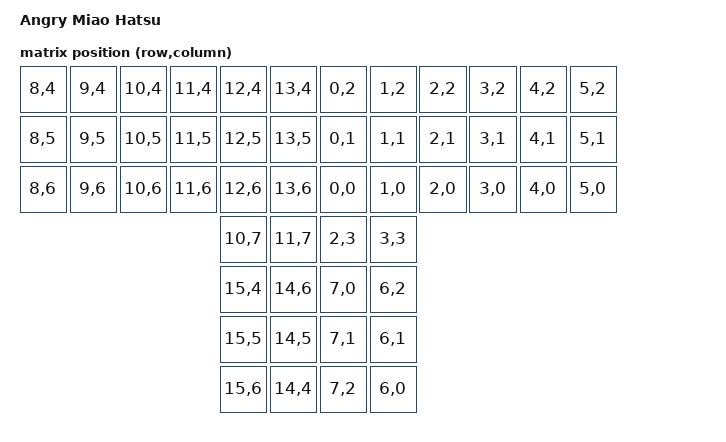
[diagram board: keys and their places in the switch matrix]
/*
 * Copyright (c) 2017 Linaro Limited
 *
 * SPDX-License-Identifier: Apache-2.0
 */

/dts-v1/;
#include <nordic/nrf52840_qiaa.dtsi>
#include <dt-bindings/zmk/matrix_transform.h>
 
 / {
     model = "Angry Miao Hatsu";
     compatible = "angry_miao,hatsu";
 
     chosen {
        zephyr,console = &cdc_acm_uart;
		zephyr,shell-uart = &cdc_acm_uart;
        zephyr,code-partition = &code_partition;
        zephyr,sram = &sram0;
        zephyr,flash = &flash0;
        zmk,kscan = &kscan0;
        zmk,matrix_transform = &layout_grid_transform;
     };


    layout_grid_transform:
        keymap_transform_0 {
            compatible = "zmk,matrix-transform";
            columns = <8>;
            rows = <16>;
            map = <
            RC(8, 4) RC(9, 4) RC(10, 4) RC(11, 4) RC(12, 4) RC(13, 4)    RC(0, 2) RC(1, 2) RC(2, 2) RC(3, 2) RC(4, 2) RC(5, 2)
            RC(8, 5) RC(9, 5) RC(10, 5) RC(11, 5) RC(12, 5) RC(13, 5)    RC(0, 1) RC(1, 1) RC(2, 1) RC(3, 1) RC(4, 1) RC(5, 1)
            RC(8, 6) RC(9, 6) RC(10, 6) RC(11, 6) RC(12, 6) RC(13, 6)    RC(0, 0) RC(1, 0) RC(2, 0) RC(3, 0) RC(4, 0) RC(5, 0)
                                                  RC(10, 7) RC(11, 7)    RC(2, 3) RC(3, 3)
                                                  RC(15, 4) RC(14, 6)    RC(7, 0) RC(6, 2)
                                                  RC(15, 5) RC(14, 5)    RC(7, 1) RC(6, 1)
                                                  RC(15, 6) RC(14, 4)    RC(7, 2) RC(6, 0)
            >;
    };
 };
 
 &adc {
     status = "okay";
 };
 
 &gpiote {
     status = "okay";
 };
 
 &gpio0 {
     status = "okay";
 };
 
 &gpio1 {
     status = "okay";
 };

/* 
 &uart0 {
     compatible = "nordic,nrf-uarte";
     status = "okay";
     current-speed = <115200>;
     //pinctrl-0 = <&uart0_default>;
     //pinctrl-1 = <&uart0_sleep>;
     //pinctrl-names = "default", "sleep";
 };
 */

 &usbd {
    status = "okay";
    cdc_acm_uart: cdc_acm_uart {
        compatible = "zephyr,cdc-acm-uart";
        label = "CDC_ACM_0";
    };
};

&flash0 {
    /*
     * For more information, see:
     * http://docs.zephyrproject.org/latest/devices/dts/flash_partitions.html
     */
    partitions {
        compatible = "fixed-partitions";
        #address-cells = <1>;
        #size-cells = <1>;

        sd_partition: partition@0 {
            label = "mbr";
            reg = <0x00000000 0x00001000>;
        };

        code_partition: partition@1000 {
            label = "code_partition";
            reg = <0x00001000 0x000d3000>;
        };

        /*
         * The flash starting at 0x000d4000 and ending at
         * 0x000f3fff is reserved for use by the application.
         */

        /*
         * Storage partition will be used by FCB/LittleFS/NVS
         * if enabled.
         */
        storage_partition: partition@d4000 {
            label = "storage";
            reg = <0x000d4000 0x00020000>;
        };

        boot_partition: partition@f4000 {
            label = "adafruit_boot";
            reg = <0x000f4000 0x0000c000>;
        };
    };
};
